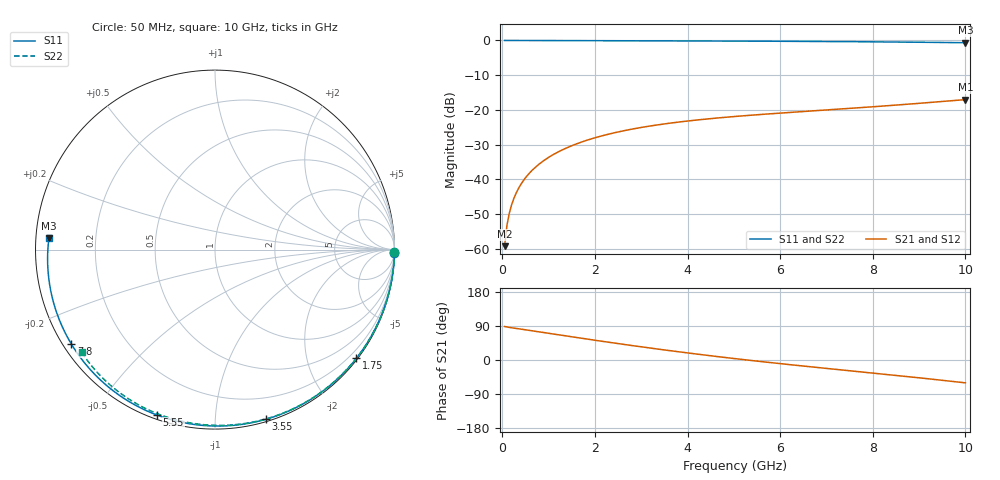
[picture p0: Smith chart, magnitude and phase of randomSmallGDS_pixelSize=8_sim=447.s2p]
! freq	dB(S11)	phase(S11)	dB(S12)	phase(S12)
!  dB(S21)	phase(S21)	dB(S22)	phase(S22)
!S-par simulation data
#  GHz  S  DB  R 50
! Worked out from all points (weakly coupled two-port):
!   200 points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, 50 MHz to 10 GHz, reference 50 ohm
!   highest |S21| = -17.05 dB at 10 GHz (marker M1); lowest = -59.3 dB at 50 MHz (marker M2)
!   lowest |S11| = -0.7 dB at 10 GHz (marker M3), VSWR 26.59, Z = 1.88 + j1.74 ohm
!   |S11| at or under -10 dB: nowhere
!   |S22| runs from -0.6 to 0.0 dB; largest |S21 - S12| = 0
!   S11 on the Smith chart (normalised r, x): 50 MHz: open; 1.75 GHz: 0.03, -2.94; 3.55 GHz: 0.02, -1.34; 5.55 GHz: 0.02, -0.71; 7.8 GHz: 0.02, -0.30; 10 GHz: 0.04, +0.03
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0.05  -0.00 -1.1  -59.29 88.4  -59.29 88.4  -0.00 -0.8
0.1  -0.00 -2.2  -53.33 87.1  -53.33 87.1  -0.00 -1.7
0.15  -0.00 -3.3  -49.88 86.0  -49.88 86.0  -0.00 -2.5
0.2  -0.00 -4.4  -47.43 85.1  -47.43 85.1  -0.00 -3.4
0.25  -0.00 -5.5  -45.53 84.2  -45.53 84.2  -0.00 -4.2
0.35  -0.01 -7.7  -42.65 82.4  -42.65 82.4  -0.00 -5.9
0.5  -0.01 -10.9  -39.60 79.7  -39.60 79.7  -0.01 -8.4
0.7  -0.02 -15.3  -36.72 76.1  -36.72 76.1  -0.01 -11.7
1  -0.03 -21.7  -33.70 70.5  -33.70 70.5  -0.02 -16.7
1.35  -0.04 -29.1  -31.20 64.0  -31.20 64.0  -0.03 -22.4
1.75  -0.05 -37.5  -29.10 56.7  -29.10 56.7  -0.04 -28.9
2.6  -0.08 -54.9  -26.08 41.6  -26.08 41.6  -0.06 -42.5
3.4  -0.11 -70.5  -24.24 28.2  -24.24 28.2  -0.09 -54.8
3.55  -0.11 -73.4  -23.96 25.7  -23.96 25.7  -0.09 -57.1
4.3  -0.14 -87.3  -22.79 14.1  -22.79 14.1  -0.12 -68.2
5.05  -0.18 -100.7  -21.88 3.2  -21.88 3.2  -0.15 -78.9
5.55  -0.20 -109.3  -21.36 -3.6  -21.36 -3.6  -0.17 -85.9
6.7  -0.28 -128.6  -20.31 -18.5  -20.31 -18.5  -0.23 -101.2
7.8  -0.37 -146.7  -19.31 -32.0  -19.31 -32.0  -0.31 -115.3
8.35  -0.43 -155.7  -18.78 -38.8  -18.78 -38.8  -0.36 -122.2
9.2  -0.54 -170.0  -17.91 -49.6  -17.91 -49.6  -0.45 -132.7
10  -0.65 176.0  -17.05 -60.3  -17.05 -60.3  -0.56 -142.5
